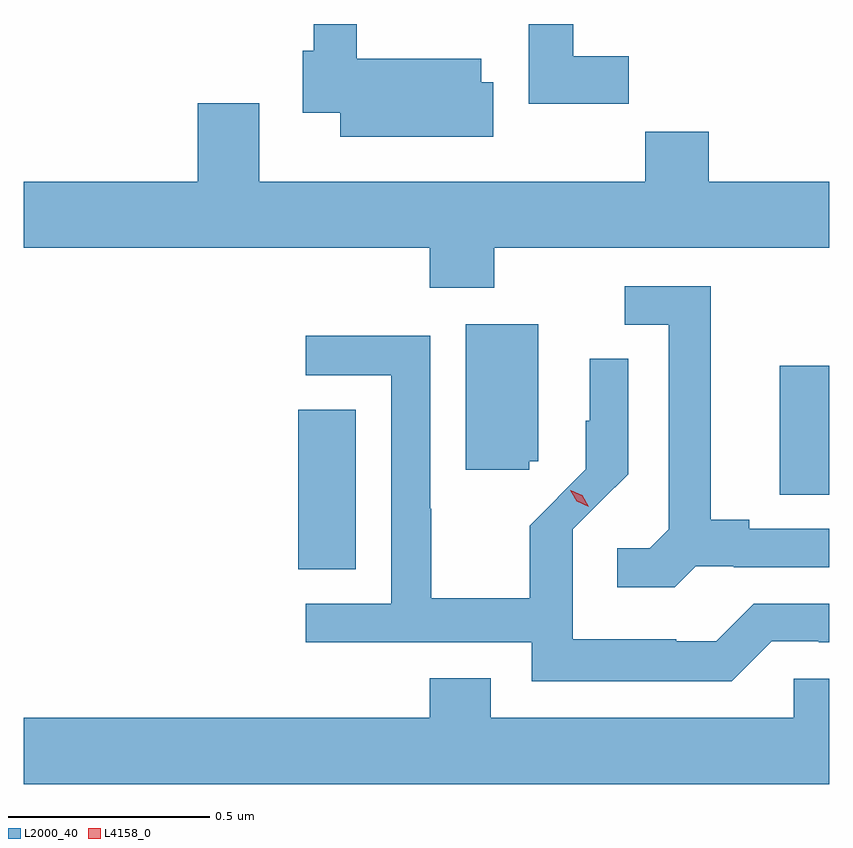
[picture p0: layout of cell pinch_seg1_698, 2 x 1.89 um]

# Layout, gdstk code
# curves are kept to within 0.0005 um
import gdstk
lib = gdstk.Library(unit=1e-6, precision=1e-09)
def R(c, l, rs):  # rectangles x0, y0, x1, y1
    for r in rs: c.add(gdstk.rectangle(r[:2], r[2:], *l))
def P(c, l, *ps):  # polygons
    for p in ps: c.add(gdstk.Polygon(p, *l))
L2000_40 = (2000, 40)
L4158_0 = (4158, 0)

pinch_seg1_698 = lib.new_cell('pinch_seg1_698')
R(pinch_seg1_698, L2000_40, [(662.408,562.921,662.551,563.318), (663.605,563.107,663.727,563.427)])
P(pinch_seg1_698, L2000_40, [(662.893,564.131),(662.863,564.131),(662.863,564.19),(662.554,564.19),(662.554,564.276),(662.447,564.276),(662.447,564.21),(662.42,564.21),(662.42,564.056),(662.513,564.056),(662.513,563.996),(662.893,563.996)],
  [(663.23,564.196),(663.091,564.196),(663.091,564.276),(662.981,564.276),(662.981,564.078),(663.23,564.078)],
  [(662.895,563.72),(663.727,563.72),(663.727,563.884),(663.428,563.884),(663.428,564.008),(663.271,564.008),(663.271,563.884),(662.311,563.884),(662.311,564.079),(662.159,564.079),(662.159,563.884),(661.727,563.884),(661.727,563.72),(662.735,563.72),(662.735,563.621),(662.895,563.621)],
  [(663.396,562.929),(663.49,562.929),(663.49,562.926),(663.727,562.926),(663.727,563.022),(663.529,563.022),(663.529,563.045),(663.433,563.045),(663.433,563.625),(663.219,563.625),(663.219,563.529),(663.329,563.529),(663.329,563.021),(663.282,562.974),(663.201,562.974),(663.201,562.877),(663.344,562.877)],
  [(662.982,563.19),(663.004,563.19),(663.004,563.53),(662.825,563.53),(662.825,563.169),(662.982,563.169)],
  [(663.585,562.743),(663.701,562.743),(663.701,562.74),(663.727,562.74),(663.727,562.836),(663.54,562.836),(663.447,562.743),(663.347,562.743),(663.347,562.747),(663.09,562.747),(663.09,563.021),(663.228,563.158),(663.228,563.444),(663.132,563.444),(663.132,563.29),(663.123,563.29),(663.123,563.17),(662.983,563.03),(662.983,562.849),(662.739,562.849),(662.739,563.072),(662.736,563.072),(662.736,563.502),(662.427,563.502),(662.427,563.403),(662.64,563.403),(662.64,562.836),(662.427,562.836),(662.427,562.74),(662.988,562.74),(662.988,562.643),(663.485,562.643)],
  [(663.727,562.65),(663.639,562.65),(663.639,562.552),(662.887,562.552),(662.887,562.651),(662.735,562.651),(662.735,562.552),(661.727,562.552),(661.727,562.388),(663.727,562.388)])
P(pinch_seg1_698, L4158_0, [(663.13,563.077),(663.1,563.09),(663.084,563.118),(663.084,563.118),(663.085,563.118),(663.114,563.105),(663.13,563.077),(663.13,563.077)])

lib.write_gds('pinch_seg1_698.gds')
